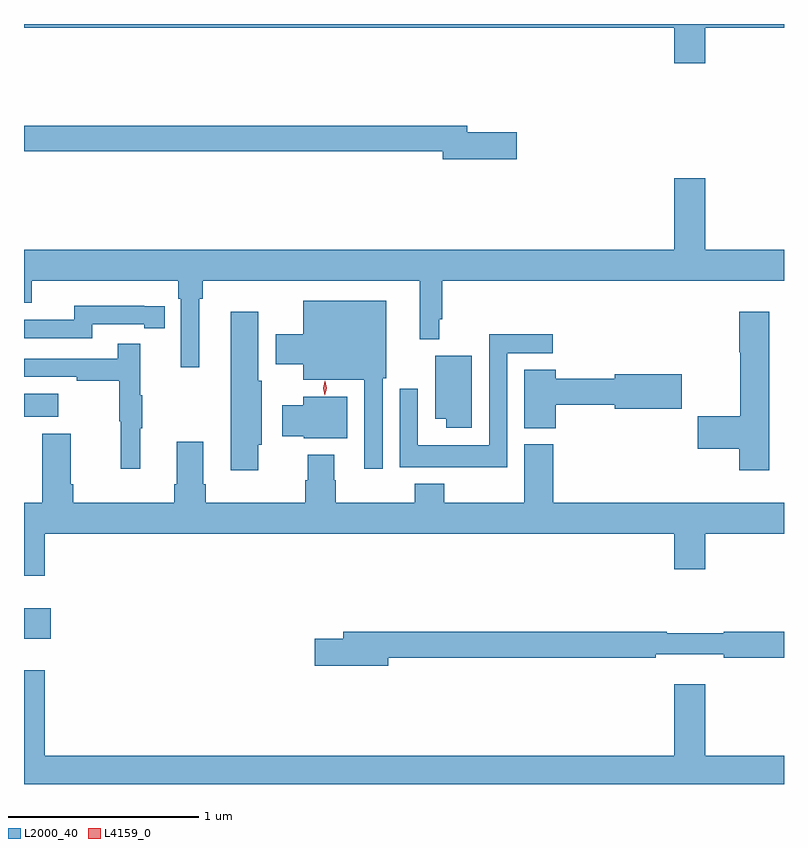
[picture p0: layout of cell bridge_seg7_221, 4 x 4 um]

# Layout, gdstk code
import gdstk
lib = gdstk.Library(unit=1e-6, precision=1e-09)
def R(c, l, rs):  # rectangles x0, y0, x1, y1
    for r in rs: c.add(gdstk.rectangle(r[:2], r[2:], *l))
def P(c, l, *ps):  # polygons
    for p in ps: c.add(gdstk.Polygon(p, *l))
L2000_40 = (2000, 40)
L4159_0 = (4159, 0)

bridge_seg7_221 = lib.new_cell('bridge_seg7_221')
R(bridge_seg7_221, L2000_40, [(257.49,1002.728,257.632,1002.889), (257.49,1003.895,257.671,1004.017)])
P(bridge_seg7_221, L2000_40, [(261.076,1005.944),(261.49,1005.944),(261.49,1005.963),(257.49,1005.963),(257.49,1005.944),(260.912,1005.944),(260.912,1005.756),(261.076,1005.756)],
  [(260.083,1005.392),(259.822,1005.392),(259.822,1005.428),(257.49,1005.428),(257.49,1005.292),(259.694,1005.292),(259.694,1005.25),(260.083,1005.25)],
  [(258.412,1004.516),(258.431,1004.516),(258.431,1004.612),(259.574,1004.612),(259.574,1004.303),(259.676,1004.303),(259.676,1004.41),(259.691,1004.41),(259.691,1004.612),(261.49,1004.612),(261.49,1004.776),(261.076,1004.776),(261.076,1005.151),(260.912,1005.151),(260.912,1004.776),(257.49,1004.776),(257.49,1004.495),(257.53,1004.495),(257.53,1004.612),(258.302,1004.612),(258.302,1004.516),(258.315,1004.516),(258.315,1004.157),(258.412,1004.157)],
  [(259.377,1004.099),(259.396,1004.099),(259.396,1004.506),(258.959,1004.506),(258.959,1004.329),(258.816,1004.329),(258.816,1004.171),(258.959,1004.171),(258.959,1004.09),(259.281,1004.09),(259.281,1003.623),(259.377,1003.623)],
  [(257.85,1004.382),(258.122,1004.382),(258.122,1004.362),(258.23,1004.362),(258.23,1004.478),(258.122,1004.478),(258.122,1004.479),(257.754,1004.479),(257.754,1004.406),(257.49,1004.406),(257.49,1004.31),(257.85,1004.31)],
  [(258.724,1003.749),(258.742,1003.749),(258.742,1004.085),(258.724,1004.085),(258.724,1004.449),(258.578,1004.449),(258.578,1003.614),(258.724,1003.614)],
  [(261.412,1004.449),(261.254,1004.449),(261.254,1004.236),(261.259,1004.236),(261.259,1003.898),(261.036,1003.898),(261.036,1003.727),(261.254,1003.727),(261.254,1003.614),(261.412,1003.614)],
  [(260.034,1004.229),(260.272,1004.229),(260.272,1004.33),(259.938,1004.33),(259.938,1003.747),(259.563,1003.747),(259.563,1004.044),(259.467,1004.044),(259.467,1003.631),(260.034,1003.631)],
  [(258.101,1003.835),(258.112,1003.835),(258.112,1004.009),(258.101,1004.009),(258.101,1004.281),(257.983,1004.281),(257.983,1004.202),(257.49,1004.202),(257.49,1004.106),(257.767,1004.106),(257.767,1004.086),(257.991,1004.086),(257.991,1003.872),(257.998,1003.872),(257.998,1003.623),(258.101,1003.623)],
  [(259.846,1004.218),(259.655,1004.218),(259.655,1003.886),(259.712,1003.886),(259.712,1003.838),(259.846,1003.838)],
  [(260.289,1003.96),(260.6,1003.96),(260.6,1003.937),(260.953,1003.937),(260.953,1004.12),(260.6,1004.12),(260.6,1004.096),(260.289,1004.096),(260.289,1004.144),(260.123,1004.144),(260.123,1003.835),(260.289,1003.835)],
  [(259.192,1004.002),(258.959,1004.002),(258.959,1003.957),(258.848,1003.957),(258.848,1003.792),(258.963,1003.792),(258.963,1003.784),(259.192,1003.784)],
  [(257.599,1003.28),(260.912,1003.28),(260.912,1003.092),(261.076,1003.092),(261.076,1003.28),(261.49,1003.28),(261.49,1003.444),(260.276,1003.444),(260.276,1003.75),(260.123,1003.75),(260.123,1003.444),(259.701,1003.444),(259.701,1003.543),(259.546,1003.543),(259.546,1003.444),(259.131,1003.444),(259.131,1003.562),(259.123,1003.562),(259.123,1003.696),(258.983,1003.696),(258.983,1003.562),(258.971,1003.562),(258.971,1003.444),(258.446,1003.444),(258.446,1003.54),(258.433,1003.54),(258.433,1003.765),(258.293,1003.765),(258.293,1003.54),(258.281,1003.54),(258.281,1003.444),(257.75,1003.444),(257.75,1003.54),(257.737,1003.54),(257.737,1003.807),(257.585,1003.807),(257.585,1003.444),(257.49,1003.444),(257.49,1003.059),(257.599,1003.059)],
  [(259.408,1002.628),(260.816,1002.628),(260.816,1002.647),(261.172,1002.647),(261.172,1002.628),(261.49,1002.628),(261.49,1002.764),(261.173,1002.764),(261.173,1002.757),(260.873,1002.757),(260.873,1002.764),(259.169,1002.764),(259.169,1002.728),(259.02,1002.728),(259.02,1002.586),(259.408,1002.586)],
  [(261.49,1002.112),(261.076,1002.112),(261.076,1002.487),(260.912,1002.487),(260.912,1002.112),(257.599,1002.112),(257.599,1002.562),(257.49,1002.562),(257.49,1001.963),(261.49,1001.963)])
P(bridge_seg7_221, L4159_0, [(259.073,1004.008),(259.073,1004.008),(259.064,1004.046),(259.074,1004.083),(259.074,1004.083),(259.075,1004.083),(259.084,1004.045),(259.073,1004.008)])

lib.write_gds('bridge_seg7_221.gds')
